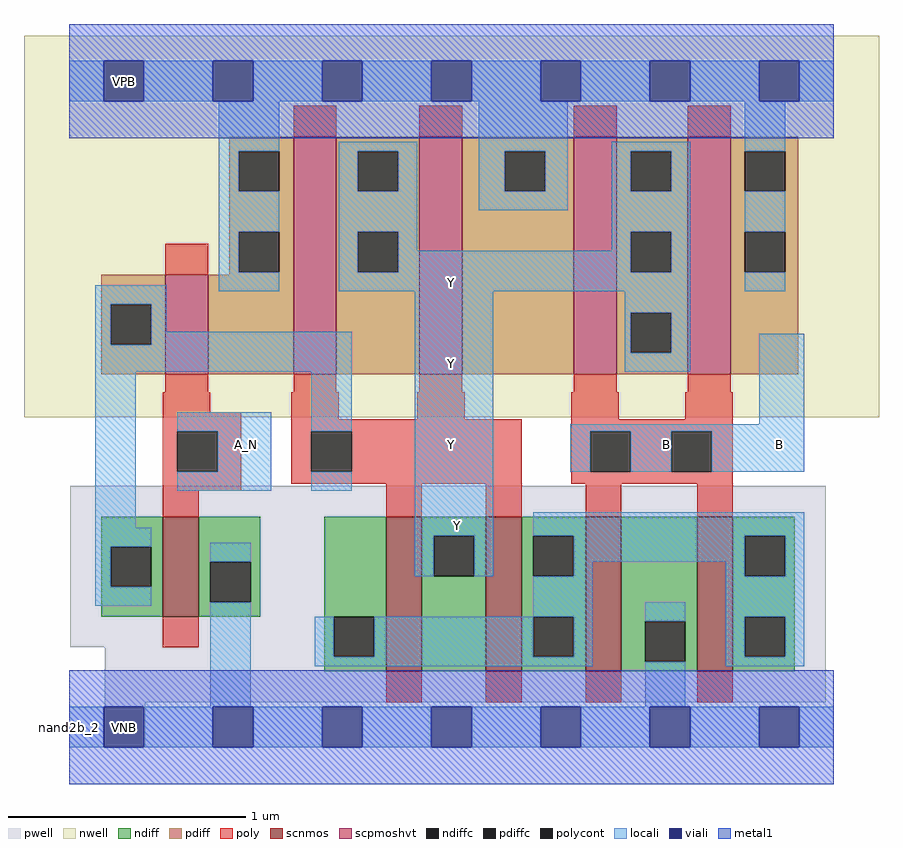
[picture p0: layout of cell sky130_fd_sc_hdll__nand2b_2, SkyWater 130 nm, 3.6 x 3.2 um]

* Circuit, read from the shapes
.subckt sky130_fd_sc_hdll__nand2b_2 A_N B VGND VNB VPB VPWR Y
XM1 VGND A_N n1 VNB sky130_fd_pr__nfet_01v8 w=0.42 l=0.15
XM2 Y n1 n2 VNB sky130_fd_pr__nfet_01v8 w=0.65 l=0.15 m=2
XM3 VGND B n2 VNB sky130_fd_pr__nfet_01v8 w=0.65 l=0.15 m=2
XM4 VPWR A_N n1 VPB sky130_fd_pr__pfet_01v8_hvt w=0.42 l=0.18
XM5 Y n1 VPWR VPB sky130_fd_pr__pfet_01v8_hvt w=1 l=0.18 m=2
XM6 Y B VPWR VPB sky130_fd_pr__pfet_01v8_hvt w=1 l=0.18 m=2
.ends

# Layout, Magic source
magic
tech sky130A
magscale 1 2
<< nwell >>
rect -38 261 682 582
<< pwell >>
rect 1 67 637 203
rect 30 21 637 67
rect 30 -17 64 21
<< scnmos >>
rect 79 93 109 177
rect 267 47 297 177
rect 351 47 381 177
rect 435 47 465 177
rect 529 47 559 177
<< scpmoshvt >>
rect 81 297 117 381
rect 189 297 225 497
rect 295 297 331 497
rect 425 297 461 497
rect 521 297 557 497
<< ndiff >>
rect 27 152 79 177
rect 27 118 35 152
rect 69 118 79 152
rect 27 93 79 118
rect 109 139 161 177
rect 109 105 119 139
rect 153 105 161 139
rect 109 93 161 105
rect 215 93 267 177
rect 215 59 223 93
rect 257 59 267 93
rect 215 47 267 59
rect 297 161 351 177
rect 297 127 307 161
rect 341 127 351 161
rect 297 47 351 127
rect 381 161 435 177
rect 381 127 391 161
rect 425 127 435 161
rect 381 93 435 127
rect 381 59 391 93
rect 425 59 435 93
rect 381 47 435 59
rect 465 89 529 177
rect 465 55 485 89
rect 519 55 529 89
rect 465 47 529 55
rect 559 161 611 177
rect 559 127 569 161
rect 603 127 611 161
rect 559 93 611 127
rect 559 59 569 93
rect 603 59 611 93
rect 559 47 611 59
<< pdiff >>
rect 135 485 189 497
rect 135 451 143 485
rect 177 451 189 485
rect 135 417 189 451
rect 135 383 143 417
rect 177 383 189 417
rect 135 381 189 383
rect 27 356 81 381
rect 27 322 35 356
rect 69 322 81 356
rect 27 297 81 322
rect 117 297 189 381
rect 225 485 295 497
rect 225 451 243 485
rect 277 451 295 485
rect 225 417 295 451
rect 225 383 243 417
rect 277 383 295 417
rect 225 297 295 383
rect 331 485 425 497
rect 331 451 367 485
rect 401 451 425 485
rect 331 297 425 451
rect 461 485 521 497
rect 461 451 473 485
rect 507 451 521 485
rect 461 417 521 451
rect 461 383 473 417
rect 507 383 521 417
rect 461 349 521 383
rect 461 315 473 349
rect 507 315 521 349
rect 461 297 521 315
rect 557 485 614 497
rect 557 451 569 485
rect 603 451 614 485
rect 557 417 614 451
rect 557 383 569 417
rect 603 383 614 417
rect 557 297 614 383
<< ndiffc >>
rect 35 118 69 152
rect 119 105 153 139
rect 223 59 257 93
rect 307 127 341 161
rect 391 127 425 161
rect 391 59 425 93
rect 485 55 519 89
rect 569 127 603 161
rect 569 59 603 93
<< pdiffc >>
rect 143 451 177 485
rect 143 383 177 417
rect 35 322 69 356
rect 243 451 277 485
rect 243 383 277 417
rect 367 451 401 485
rect 473 451 507 485
rect 473 383 507 417
rect 473 315 507 349
rect 569 451 603 485
rect 569 383 603 417
<< poly >>
rect 189 497 225 523
rect 295 497 331 523
rect 425 497 461 523
rect 521 497 557 523
rect 81 381 117 407
rect 81 282 117 297
rect 189 282 225 297
rect 295 282 331 297
rect 425 282 461 297
rect 521 282 557 297
rect 79 265 119 282
rect 79 249 145 265
rect 79 215 91 249
rect 125 215 145 249
rect 79 199 145 215
rect 187 259 227 282
rect 293 259 333 282
rect 423 259 463 282
rect 519 259 559 282
rect 187 249 381 259
rect 187 215 204 249
rect 238 215 381 249
rect 187 205 381 215
rect 423 249 559 259
rect 423 215 439 249
rect 473 215 507 249
rect 541 215 559 249
rect 423 205 559 215
rect 79 177 109 199
rect 267 177 297 205
rect 351 177 381 205
rect 435 177 465 205
rect 529 177 559 205
rect 79 67 109 93
rect 267 21 297 47
rect 351 21 381 47
rect 435 21 465 47
rect 529 21 559 47
<< polycont >>
rect 91 215 125 249
rect 204 215 238 249
rect 439 215 473 249
rect 507 215 541 249
<< locali >>
rect 0 527 29 561
rect 63 527 121 561
rect 155 527 213 561
rect 247 527 305 561
rect 339 527 397 561
rect 431 527 489 561
rect 523 527 581 561
rect 615 527 644 561
rect 126 485 177 527
rect 126 451 143 485
rect 126 417 177 451
rect 126 383 143 417
rect 22 356 82 372
rect 126 367 177 383
rect 227 485 293 493
rect 227 451 243 485
rect 277 451 293 485
rect 227 417 293 451
rect 345 485 420 527
rect 345 451 367 485
rect 401 451 420 485
rect 345 435 420 451
rect 457 485 523 493
rect 457 451 473 485
rect 507 451 523 485
rect 227 383 243 417
rect 277 401 293 417
rect 457 417 523 451
rect 457 401 473 417
rect 277 383 473 401
rect 507 383 523 417
rect 227 367 523 383
rect 569 485 603 527
rect 569 417 603 451
rect 569 367 603 383
rect 22 322 35 356
rect 69 333 82 356
rect 69 322 238 333
rect 22 299 238 322
rect 22 168 56 299
rect 91 249 170 265
rect 125 215 170 249
rect 91 199 170 215
rect 204 249 238 299
rect 204 199 238 215
rect 22 152 69 168
rect 291 161 357 367
rect 468 349 523 367
rect 468 315 473 349
rect 507 315 523 349
rect 468 299 523 315
rect 581 255 619 331
rect 422 249 619 255
rect 422 215 439 249
rect 473 215 507 249
rect 541 215 619 249
rect 22 118 35 152
rect 22 102 69 118
rect 119 139 153 155
rect 291 127 307 161
rect 341 127 357 161
rect 391 161 619 181
rect 425 139 569 161
rect 425 127 441 139
rect 119 17 153 105
rect 391 93 441 127
rect 553 127 569 139
rect 603 127 619 161
rect 207 59 223 93
rect 257 59 391 93
rect 425 59 441 93
rect 207 51 441 59
rect 485 89 519 105
rect 485 17 519 55
rect 553 93 619 127
rect 553 59 569 93
rect 603 59 619 93
rect 553 51 619 59
rect 0 -17 29 17
rect 63 -17 121 17
rect 155 -17 213 17
rect 247 -17 305 17
rect 339 -17 397 17
rect 431 -17 489 17
rect 523 -17 581 17
rect 615 -17 644 17
<< viali >>
rect 29 527 63 561
rect 121 527 155 561
rect 213 527 247 561
rect 305 527 339 561
rect 397 527 431 561
rect 489 527 523 561
rect 581 527 615 561
rect 29 -17 63 17
rect 121 -17 155 17
rect 213 -17 247 17
rect 305 -17 339 17
rect 397 -17 431 17
rect 489 -17 523 17
rect 581 -17 615 17
<< metal1 >>
rect 0 561 644 592
rect 0 527 29 561
rect 63 527 121 561
rect 155 527 213 561
rect 247 527 305 561
rect 339 527 397 561
rect 431 527 489 561
rect 523 527 581 561
rect 615 527 644 561
rect 0 496 644 527
rect 0 17 644 48
rect 0 -17 29 17
rect 63 -17 121 17
rect 155 -17 213 17
rect 247 -17 305 17
rect 339 -17 397 17
rect 431 -17 489 17
rect 523 -17 581 17
rect 615 -17 644 17
rect 0 -48 644 -17
<< labels >>
flabel locali s 581 221 615 255 0 FreeSans 250 0 0 0 B
port 2 nsew signal input
flabel locali s 486 221 520 255 0 FreeSans 250 0 0 0 B
port 2 nsew signal input
flabel locali s 310 153 344 187 0 FreeSans 250 0 0 0 Y
port 7 nsew signal output
flabel locali s 305 221 339 255 0 FreeSans 250 0 0 0 Y
port 7 nsew signal output
flabel locali s 305 289 339 323 0 FreeSans 250 0 0 0 Y
port 7 nsew signal output
flabel locali s 305 357 339 391 0 FreeSans 250 0 0 0 Y
port 7 nsew signal output
flabel locali s 132 221 166 255 0 FreeSans 250 0 0 0 A_N
port 1 nsew signal input
flabel pwell s 30 -17 64 17 0 FreeSans 200 0 0 0 VNB
port 4 nsew ground bidirectional
flabel nwell s 30 527 64 561 0 FreeSans 200 0 0 0 VPB
port 5 nsew power bidirectional
flabel metal1 s 30 -17 64 17 0 FreeSans 200 0 0 0 VGND
port 3 nsew ground bidirectional
flabel metal1 s 30 527 64 561 0 FreeSans 200 0 0 0 VPWR
port 6 nsew power bidirectional
rlabel comment s 0 0 0 0 4 nand2b_2
<< properties >>
string LEFsite unithd
string LEFclass CORE
string FIXED_BBOX 0 0 644 544
string GDS_FILE $PDKPATH/libs.ref/sky130_fd_sc_hdll/gds/sky130_fd_sc_hdll.gds
string LEFsymmetry X Y R90
string GDS_END 2213702
string GDS_START 2207508
string LEFproperties maskLayoutSubType "abstract" prCellType "standard" originalViewName "layout"
<< end >>
